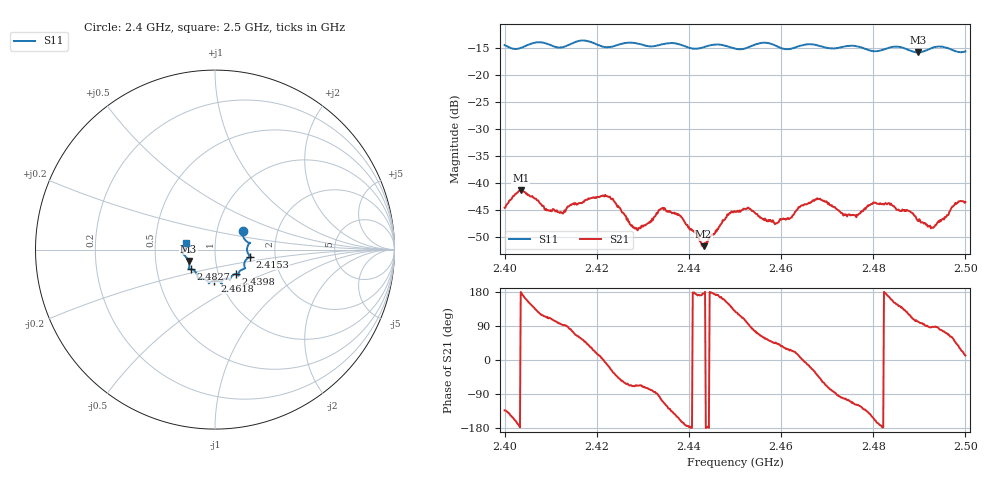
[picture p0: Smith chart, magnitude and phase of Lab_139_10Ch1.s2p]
# Hz S RI R 50
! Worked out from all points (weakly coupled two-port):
!   601 points, 2.4 GHz to 2.5 GHz, reference 50 ohm
!   highest |S21| = -41.39 dB at 2.4035 GHz (marker M1); lowest = -51.7 dB at 2.4432 GHz (marker M2)
!   lowest |S11| = -15.9 dB at 2.4897 GHz (marker M3), VSWR 1.38, Z = 36.9 - j4.83 ohm
!   |S11| at or under -10 dB: start of sweep to end of sweep
!   S12 and S22 are empty: the file has one direction only
!   S11 on the Smith chart (normalised r, x): 2.4 GHz: 1.33, +0.29; 2.4153 GHz: 1.48, -0.12; 2.4398 GHz: 1.21, -0.34; 2.4618 GHz: 0.94, -0.33; 2.4827 GHz: 0.75, -0.17; 2.5 GHz: 0.72, +0.06
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2.4e9  0.1548 0.1061  -0.00401 -0.00432  0 0  0 0
2.4035e9  0.1685 0.0527  -0.00853 9.22e-05  0 0  0 0
2.409333e9  0.1897 0.0329  -0.00219 0.00515  0 0  0 0
2.415333e9  0.1966 -0.0391  0.00258 0.00599  0 0  0 0
2.416667e9  0.2024 -0.0431  0.0036 0.00541  0 0  0 0
2.422333e9  0.1657 -0.0684  0.00733 -0.00172  0 0  0 0
2.428667e9  0.1642 -0.1053  0.00145 -0.00354  0 0  0 0
2.433333e9  0.1301 -0.1342  -0.000265 -0.00541  0 0  0 0
2.437667e9  0.1301 -0.1418  -0.00452 -0.00245  0 0  0 0
2.439833e9  0.1152 -0.1364  -0.00386 -0.000393  0 0  0 0
2.443167e9  0.0874 -0.1566  -0.00259 0.000214  0 0  0 0
2.45e9  0.0648 -0.1617  -0.00342 0.00425  0 0  0 0
2.453e9  0.0382 -0.1758  -0.00035 0.00585  0 0  0 0
2.458833e9  0.0324 -0.1825  0.00293 0.00305  0 0  0 0
2.461833e9  -0.00326 -0.1726  0.00423 0.00197  0 0  0 0
2.466667e9  -0.0346 -0.1878  0.00615 -0.0027  0 0  0 0
2.475833e9  -0.0949 -0.1585  -0.00211 -0.00457  0 0  0 0
2.482667e9  -0.135 -0.1089  -0.00651 0.000465  0 0  0 0
2.483333e9  -0.1402 -0.1085  -0.00634 0.00144  0 0  0 0
2.489667e9  -0.1474 -0.0638  -0.000912 0.00437  0 0  0 0
2.493e9  -0.1765 -0.0264  0.000183 0.00384  0 0  0 0
2.5e9  -0.1596 0.0389  0.00652 0.00135  0 0  0 0
